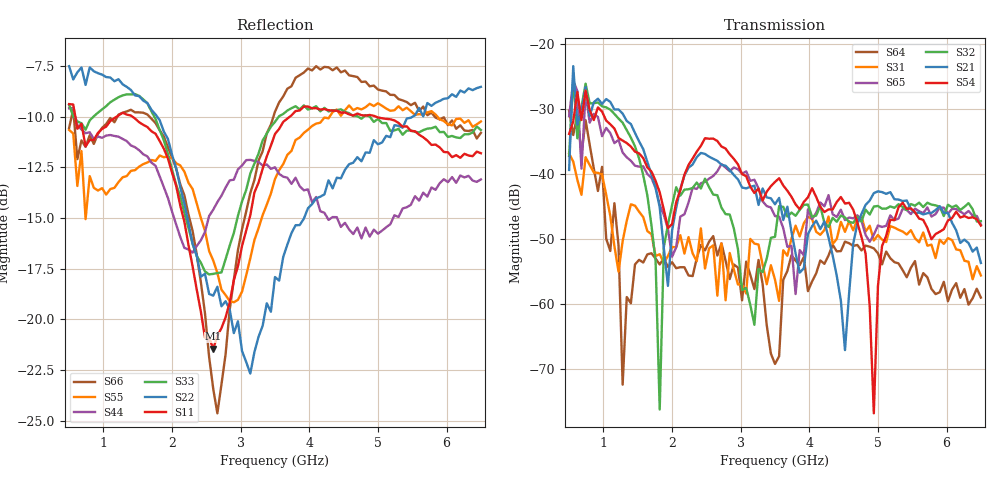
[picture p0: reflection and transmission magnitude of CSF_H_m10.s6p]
!Keysight Technologies,M9804A,MY58100912,A.14.10.03
!Date: Thursday, April 27, 2023 10:28:33
!Correction: S11(C  6-Port  )
!S12(C  6-Port  )
!S13(C  6-Port  )
!S14(C  6-Port  )
!S15(C  6-Port  )
!S16(C  6-Port  )
!S21(C  6-Port  )
!S22(C  6-Port  )
!S23(C  6-Port  )
!S24(C  6-Port  )
!S25(C  6-Port  )
!S26(C  6-Port  )
!S31(C  6-Port  )
!S32(C  6-Port  )
!S33(C  6-Port  )
!S34(C  6-Port  )
!S35(C  6-Port  )
!S36(C  6-Port  )
!S41(C  6-Port  )
!S42(C  6-Port  )
!S43(C  6-Port  )
!S44(C  6-Port  )
!S45(C  6-Port  )
!S46(C  6-Port  )
!S51(C  6-Port  )
!S52(C  6-Port  )
!S53(C  6-Port  )
!S54(C  6-Port  )
!S55(C  6-Port  )
!S56(C  6-Port  )
!S61(C  6-Port  )
!S62(C  6-Port  )
!S63(C  6-Port  )
!S64(C  6-Port  )
!S65(C  6-Port  )
!S66(C  6-Port  )
!S6P File: Measurement: :
# Hz S  RI  R 50
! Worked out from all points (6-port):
!   101 points, 500 MHz to 6.5 GHz, reference 50 ohm
!   strongest paths, dB at 500 MHz, 2 GHz, 3.5 GHz, 5 GHz, 6.5 GHz:
!     S54: -33.9, -47.7, -41.3, -57.3, -48.0
!     S21: -39.4, -48.7, -44.7, -42.7, -53.7
!     S32: -37.3, -44.8, -49.7, -44.9, -47.3
!     S65: -31.2, -52.7, -46.5, -47.9, -47.8
!     S31: -36.9, -51.2, -56.3, -49.4, -55.6
!     S64: -30.3, -53.6, -69.2, -52.2, -59.0
!   lowest |S11| = -21.5 dB at 2.6 GHz (marker M1), VSWR 1.18, Z = 42.5 + j2.2 ohm
!   |S11| at or under -10 dB: 590.4 MHz to 1.189 GHz (598.2 MHz wide, 67.2 % of centre); 1.426 GHz to 3.713 GHz (2.287 GHz wide, 89 % of centre); 4.977 GHz to end of sweep
